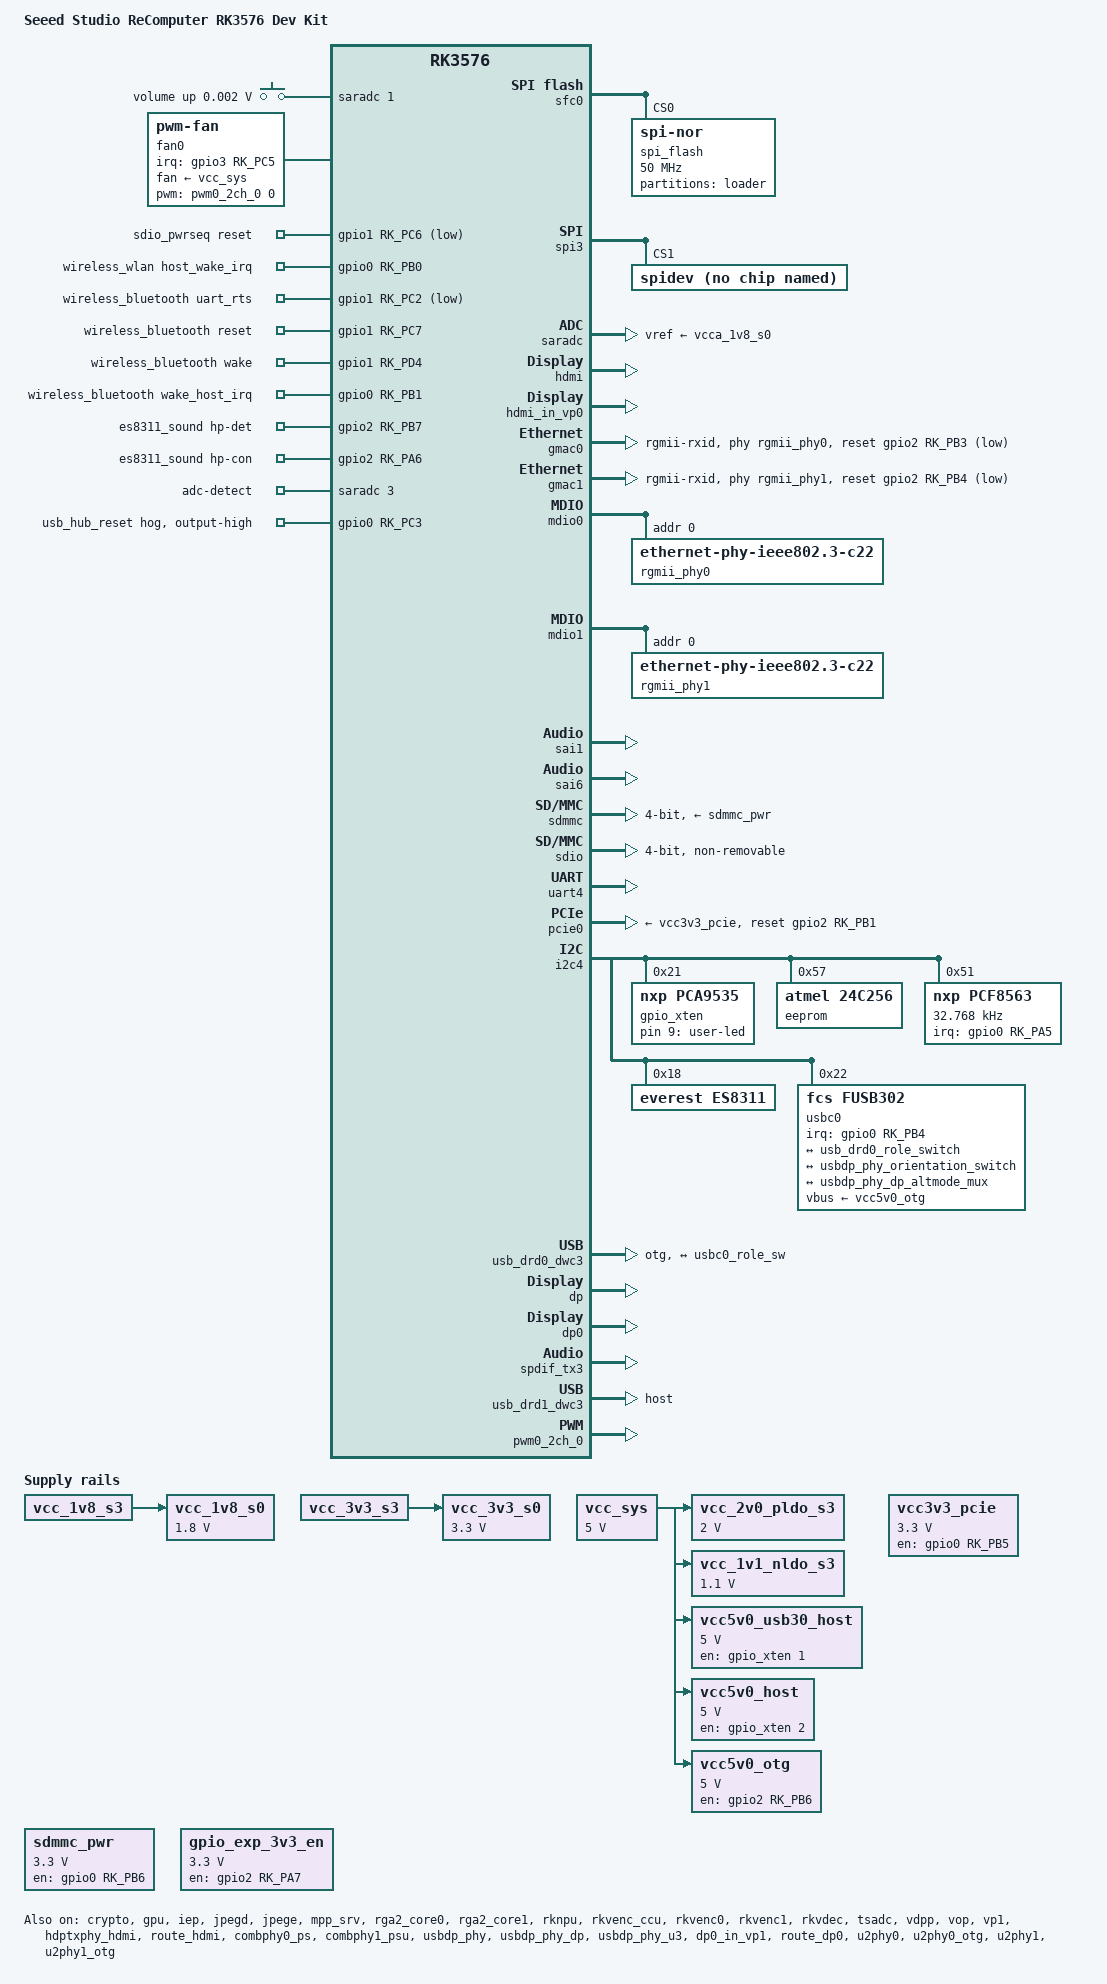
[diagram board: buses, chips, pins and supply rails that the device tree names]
// SPDX-License-Identifier: (GPL-2.0+ OR MIT)
/*
 * Copyright (c) 2024 Rockchip Electronics Co., Ltd.
 * Copyright (c) 2025 Radxa Computer (Shenzhen) Co., Ltd.
 *
 */

/dts-v1/;
#include <dt-bindings/usb/pd.h>
#include <dt-bindings/gpio/gpio.h>
#include <dt-bindings/pwm/pwm.h>
#include <dt-bindings/pinctrl/rockchip.h>
#include <dt-bindings/input/rk-input.h>
#include <dt-bindings/display/drm_mipi_dsi.h>
#include <dt-bindings/display/rockchip_vop.h>
#include <dt-bindings/sensor-dev.h>
#include "rk3576.dtsi"
#include "rk3576-linux.dtsi"
#include "rk3576-rk806.dtsi"
#include "recomputer-rk3576-devkit-cam.dtsi"
/ {
	model = "Seeed Studio ReComputer RK3576 Dev Kit";
	compatible = "seeed,recomputer rk3576 devkit", "rockchip,rk3576";

	/delete-node/ chosen;

	adc-keys {
		compatible = "adc-keys";
		io-channels = <&saradc 1>;
		io-channel-names = "buttons";
		keyup-threshold-microvolt = <1800000>;
		status = "okay";

		volumeup-key {
			linux,code = <KEY_VOLUMEUP>;
			label = "volume up";
			press-threshold-microvolt = <1750>;
		};
	};

	fan0: pwm-fan {
		status = "okay";
		compatible = "pwm-fan";
		#cooling-cells = <2>;
		cooling-levels = <0 50 100 150 200 255>;
		fan-supply = <&vcc_sys>;
		pwms = <&pwm0_2ch_0 0 60000 0>;

		interrupt-parent = <&gpio3>;
		interrupts = <RK_PC5 IRQ_TYPE_EDGE_BOTH>;
		pulses-per-revolution = <2>;
		pinctrl-names = "default";
		pinctrl-0 = <&fan_tach>;

		rockchip,temp-trips = <
            20000    1
            25000    2
            30000    3
            35000    5
        >;
	};

	vcc_sys: vcc5v0-sys {
		compatible = "regulator-fixed";
		regulator-name = "vcc_sys";
		regulator-always-on;
		regulator-boot-on;
		regulator-min-microvolt = <5000000>;
		regulator-max-microvolt = <5000000>;
	};

	vcc_2v0_pldo_s3: vcc-2v0-pldo-s3 {
		compatible = "regulator-fixed";
		regulator-name = "vcc_2v0_pldo_s3";
		regulator-boot-on;
		regulator-always-on;
		regulator-min-microvolt = <2000000>;
		regulator-max-microvolt = <2000000>;
		vin-supply = <&vcc_sys>;
	};

	vcc_1v1_nldo_s3: vcc-1v1-nldo-s3 {
		compatible = "regulator-fixed";
		regulator-name = "vcc_1v1_nldo_s3";
		regulator-boot-on;
		regulator-always-on;
		regulator-min-microvolt = <1100000>;
		regulator-max-microvolt = <1100000>;
		vin-supply = <&vcc_sys>;
	};

	vcc_1v8_s0: vcc-1v8-s0 {
		compatible = "regulator-fixed";
		regulator-name = "vcc_1v8_s0";
		regulator-boot-on;
		regulator-always-on;
		regulator-min-microvolt = <1800000>;
		regulator-max-microvolt = <1800000>;
		vin-supply = <&vcc_1v8_s3>;
	};

	vcc_3v3_s0: vcc-3v3-s0 {
		compatible = "regulator-fixed";
		regulator-name = "vcc_3v3_s0";
		regulator-boot-on;
		regulator-always-on;
		regulator-min-microvolt = <3300000>;
		regulator-max-microvolt = <3300000>;
		vin-supply = <&vcc_3v3_s3>;
	};

	vcc5v0_usb30_host: vcc5v0-usb30-host {
		compatible = "regulator-fixed";
		regulator-name = "vcc5v0_usb30_host";
		regulator-boot-on;
		regulator-always-on;
		regulator-min-microvolt = <5000000>;
		regulator-max-microvolt = <5000000>;
		enable-active-high;
		gpio = <&gpio_xten 1 GPIO_ACTIVE_HIGH>;
		vin-supply = <&vcc_sys>;
	};

	vcc5v0_host: vcc5v0-host {
		compatible = "regulator-fixed";
		regulator-name = "vcc5v0_host";
		regulator-boot-on;
		regulator-always-on;
		regulator-min-microvolt = <5000000>;
		regulator-max-microvolt = <5000000>;
		enable-active-high;
		gpio = <&gpio_xten 2 GPIO_ACTIVE_HIGH>;
		vin-supply = <&vcc_sys>;
	};

	vcc5v0_otg: vcc5v0-otg {
		compatible = "regulator-fixed";
		regulator-name = "vcc5v0_otg";
		regulator-min-microvolt = <5000000>;
		regulator-max-microvolt = <5000000>;
		enable-active-high;
		gpio = <&gpio2 RK_PB6 GPIO_ACTIVE_HIGH>;
		vin-supply = <&vcc_sys>;
		pinctrl-names = "default";
		pinctrl-0 = <&vcc5v0_otg_en>;
	};


	vcc3v3_pcie: vcc3v3-pcie {
		compatible = "regulator-fixed";
		regulator-name = "vcc3v3_pcie";
		regulator-min-microvolt = <3300000>;
		regulator-max-microvolt = <3300000>;
		enable-active-high;
		regulator-boot-on;
		regulator-always-on;
		gpios = <&gpio0 RK_PB5 GPIO_ACTIVE_HIGH>;
		startup-delay-us = <5000>;
		pinctrl-names = "default";
		pinctrl-0 = <&pcie_pwr_en>;
	};

	sdmmc_pwr: sdmmc-pwr {
		compatible = "regulator-fixed";
		regulator-name = "sdmmc_pwr";
		regulator-min-microvolt = <3300000>;
		regulator-max-microvolt = <3300000>;
		enable-active-high;
		regulator-boot-on;
		regulator-always-on;
		gpios = <&gpio0 RK_PB6 GPIO_ACTIVE_HIGH>;
		pinctrl-names = "default";
		pinctrl-0 = <&sdmmc_pwr_en>;
	};

	gpio_exp_3v3_en: gpio_exp_3v3_en{
		compatible = "regulator-fixed";
		regulator-name = "exp_3v3_en";
		regulator-min-microvolt = <3300000>;
		regulator-max-microvolt = <3300000>;
		regulator-always-on;
		regulator-boot-on;
		enable-active-high;
		gpios = <&gpio2 RK_PA7 GPIO_ACTIVE_HIGH>;
		pinctrl-names = "default";
		pinctrl-0 = <&vsys_3v3_exp_en>;
	};

	sdio_pwrseq: sdio-pwrseq {
		compatible = "mmc-pwrseq-simple";
		pinctrl-names = "default";
		pinctrl-0 = <&wifi_poweren_gpio>;

		/*
		 * On the module itself this is one of these (depending
		 * on the actual card populated):
		 * - SDIO_RESET_L_WL_REG_ON
		 * - PDN (power down when low)
		 */
		post-power-on-delay-ms = <200>;
		reset-gpios = <&gpio1 RK_PC6 GPIO_ACTIVE_LOW>;
	};

	wireless_wlan: wireless-wlan {
		compatible = "wlan-platdata";
		wifi_chip_type = "fcs960k";
		clocks = <&pcf8563>; 
		clock-names = "ext_clock";
		pinctrl-names = "default";
		pinctrl-0 = <&wifi_host_wake_irq>;
		WIFI,host_wake_irq = <&gpio0 RK_PB0 GPIO_ACTIVE_HIGH>;
	};


	wireless_bluetooth: wireless-bluetooth {
		compatible = "bluetooth-platdata";
		uart_rts_gpios = <&gpio1 RK_PC2 GPIO_ACTIVE_LOW>;
		pinctrl-names = "default", "rts_gpio";
		pinctrl-0 = <&uart4m1_rtsn>;
		pinctrl-1 = <&uart4_gpios>;
		BT,reset_gpio    = <&gpio1 RK_PC7 GPIO_ACTIVE_HIGH>;
		BT,wake_gpio     = <&gpio1 RK_PD4 GPIO_ACTIVE_HIGH>;
		BT,wake_host_irq = <&gpio0 RK_PB1 GPIO_ACTIVE_HIGH>;
		status = "okay";
	};

	hdmi_sound: hdmi-sound {
		compatible = "rockchip,hdmi";
		rockchip,mclk-fs = <128>;
		rockchip,card-name = "rockchip-hdmi0";
		rockchip,cpu = <&sai6>;
		rockchip,codec = <&hdmi>;
		rockchip,jack-det;
	};

	dp0_sound: dp0-sound {
		compatible = "rockchip,hdmi";
		rockchip,mclk-fs = <512>;
		rockchip,card-name = "rockchip-dp0";
		rockchip,cpu = <&spdif_tx3>;
		rockchip,codec = <&dp0 1>;
		rockchip,jack-det;
	};


	es8311_sound: es8311-sound {
		status = "okay";
		compatible = "rockchip,multicodecs-card";
		rockchip,card-name = "rockchip-es8311";
		io-channels = <&saradc 3>;
		io-channel-names = "adc-detect";
		keyup-threshold-microvolt = <1800000>;
		poll-interval = <100>;
		hp-det-gpio = <&gpio2 RK_PB7 GPIO_ACTIVE_HIGH>;
		hp-con-gpio = <&gpio2 RK_PA6 GPIO_ACTIVE_HIGH>;
		rockchip,pre-power-on-delay-ms = <30>;
		rockchip,post-power-down-delay-ms = <40>;
		rockchip,format = "i2s";
		rockchip,mclk-fs = <256>;
		rockchip,cpu = <&sai1>;
		rockchip,codec = <&es8311>;
        rockchip,audio-routing =
            /* Playback path - Headphone from differential output */
            "Headphone", "DIFFERENTIAL OUT",
            /* Capture path - Analog microphone */
            "AMIC", "Main Mic",
            "AMIC", "Headset Mic";
		pinctrl-names = "default";
		pinctrl-0 = <&hp_det &hp_con>;

	};

	gpio-leds {
		compatible = "gpio-leds";

		// power-led {
		// 	gpios = <&gpio0 RK_PB4 GPIO_ACTIVE_HIGH>;
		// 	linux,default-trigger = "default-on";
		// };

		user-led {
			gpios = <&gpio_xten 9 GPIO_ACTIVE_HIGH>;
			linux,default-trigger = "heartbeat";
		};
	};


};


&gpio0 {
    usb_hub_reset_hog: usb-hub-reset-hog {
        gpio-hog;
        gpios = <RK_PC3 GPIO_ACTIVE_HIGH>;
        output-high;              
        line-name = "usb_hub_reset";
    };
};



&sfc0 {
	status = "okay";
	max-freq = <50000000>;
	#address-cells = <1>;
	#size-cells = <0>;
	pinctrl-names = "default";
	pinctrl-0 = <&fspi0_pins>;
	
	spi_flash: spi-flash@0 {
		#address-cells = <1>;
		#size-cells = <0>;
		compatible = "jedec,spi-nor";
		reg = <0x0>;
		spi-max-frequency = <50000000>;
		spi-tx-bus-width = <1>;
		spi-rx-bus-width = <4>;
		status = "okay";

		partitions {
			compatible = "fixed-partitions";
			#address-cells = <1>;
			#size-cells = <1>;

			loader@0 {
				label = "loader";
				reg = <0x0 0x1000000>;
			};
		};
	};
};

&spi3 {
	status = "okay";
	pinctrl-0 = <&spi3m1_csn1 &spi3m1_pins>;

	spidev@1 {
		compatible = "spidev";
		reg = <1>;
		status = "okay";
	};

	// m6108: mm6108@1 {
	// 	compatible = "morse,mm610x-spi";
	// 	reg = <1>;
	// 	spi-max-frequency = <50000000>;
	// 	spi-irq-gpios = <&gpio0 RK_PA0 GPIO_ACTIVE_HIGH>;
	// 	// reset-gpios = <&gpio_xten 4 GPIO_ACTIVE_HIGH>;
	// 	// power-gpios = <&gpio1 RK_PB1 GPIO_ACTIVE_HIGH>, <&gpio1 RK_PB2 GPIO_ACTIVE_HIGH>;
	// 	status = "okay";
 	// };

};

&cpu_l0 {
	cpu-supply = <&vdd_cpu_lit_s0>;
};

&cpu_b0 {
	cpu-supply = <&vdd_cpu_big_s0>;
};

&crypto {
	status = "okay";
};

&gpu {
	mali-supply = <&vdd_gpu_s0>;
	status = "okay";
};

&iep {
	status = "okay";
};

&iep_mmu {
	status = "okay";
};

&jpegd {
	status = "okay";
};

&jpege {
	status = "okay";
};

&jpeg_mmu {
	status = "okay";
};

&mpp_srv {
	status = "okay";
};

&rga2_core0 {
	status = "okay";
};

&rga2_core0_mmu {
	status = "okay";
};

&rga2_core1 {
	status = "okay";
};

&rga2_core1_mmu {
	status = "okay";
};

&rknpu {
	rknpu-supply = <&vdd_npu_s0>;
	status = "okay";
};

&rknpu_mmu {
	status = "okay";
};

&rkvenc_ccu {
	status = "okay";
};

&rkvenc0 {
	status = "okay";
};

&rkvenc0_mmu {
	status = "okay";
};

&rkvenc1 {
	status = "okay";
};

&rkvenc1_mmu {
	status = "okay";
};

&rkvdec {
	status = "okay";
};

&rkvdec_mmu {
	status = "okay";
};

&rockchip_suspend {
	status = "okay";
	rockchip,sleep-debug-en = <1>;

	rockchip,sleep-io-ret-config = <
		(0
		| RKPM_VCCIO3_RET_EN
		)
	>;

	rockchip,regulator-on-before-mem = <&vdd_npu_s0>;
};

&vdd_logic_s0 {
	regulator-state-mem {
		regulator-on-in-suspend;
	};
};

&vcca_1v8_s0 {
	regulator-state-mem {
		regulator-on-in-suspend;
	};
};

&saradc {
	status = "okay";
	vref-supply = <&vcca_1v8_s0>;
};

&tsadc {
	status = "okay";
};

&threshold {
	temperature = <60000>;
};

&little_core_thermal {
	sustainable-power = <5000>; /* milliwatts */
	cooling-maps {
		map3 {
			trip = <&target>;
			cooling-device =
				<&fan0 THERMAL_NO_LIMIT THERMAL_NO_LIMIT>;
			contribution = <8192>;
		};
		map4 {
			trip = <&threshold>;
			cooling-device =
				<&fan0 THERMAL_NO_LIMIT THERMAL_NO_LIMIT>;
			contribution = <8192>;
		};
	};
};

&sdhci {
	bus-width = <8>;
	no-sdio;
	no-sd;
	non-removable;
	max-frequency = <100000000>;
	mmc-hs400-1_8v;
	mmc-hs400-enhanced-strobe;
	full-pwr-cycle-in-suspend;
	status = "disabled";
};

&vdpp {
	status = "okay";
};

&vop {
	status = "okay";
	vop-supply = <&vdd_logic_s0>;
};

&vop_mmu {
	status = "okay";
};

&vp1 {
	assigned-clocks = <&cru DCLK_VP1_SRC>;
	assigned-clock-parents = <&cru PLL_VPLL>;
};

&vp2 {
	assigned-clocks = <&cru DCLK_VP2_SRC>;
	assigned-clock-parents = <&cru PLL_VPLL>;
};

&display_subsystem {
	clocks = <&hdptxphy_hdmi>;
	clock-names = "hdmi0_phy_pll";
};

&hdmi {
	status = "okay";
	cec-enable;
	enable-gpios = <&gpio4 RK_PC6 GPIO_ACTIVE_HIGH>;
	ddc-i2c-scl-high-time-ns = <4812>;
	ddc-i2c-scl-low-time-ns = <5000>;
};


&hdmi_in_vp0 {
	status = "okay";
};

&hdmi_in_vp1 {
	status = "disabled";
};

&hdmi_in_vp2 {
	status = "disabled";
};

&hdmi_in_vopl {
	status = "disabled";
};

&hdptxphy_hdmi {
	status = "okay";
};

&route_hdmi {
	status = "okay";
	connect = <&vp0_out_hdmi>;
};

&hdmi_sound {
	status = "okay";
};

&vp0 {
	rockchip,plane-mask = <(1 << ROCKCHIP_VOP2_CLUSTER0 | 1 << ROCKCHIP_VOP2_ESMART0)>;
	rockchip,primary-plane = <ROCKCHIP_VOP2_ESMART0>;
	cursor-win-id = <ROCKCHIP_VOP2_CLUSTER0>;
};

&vp1 {
	rockchip,plane-mask = <(1 << ROCKCHIP_VOP2_CLUSTER1 | 1 << ROCKCHIP_VOP2_ESMART1)>;
	rockchip,primary-plane = <ROCKCHIP_VOP2_ESMART1>;
	cursor-win-id = <ROCKCHIP_VOP2_CLUSTER1>;
};

&vp2 {
	rockchip,plane-mask = <(1 << ROCKCHIP_VOP2_ESMART2 | 1 << ROCKCHIP_VOP2_ESMART3)>;
	rockchip,primary-plane = <ROCKCHIP_VOP2_ESMART2>;
	cursor-win-id = <ROCKCHIP_VOP2_ESMART3>;
};

&gmac0 {
	/* Use rgmii-rxid mode to disable rx delay inside Soc */
	phy-mode = "rgmii-rxid";
	clock_in_out = "output";

	snps,reset-gpio = <&gpio2 RK_PB3 GPIO_ACTIVE_LOW>;
	snps,reset-active-low;
	/* Reset time is 20ms, 100ms for rtl8211f */
	snps,reset-delays-us = <0 20000 100000>;

	pinctrl-names = "default";
	// pinctrl-0 = <&eth0m0_miim
	// 	     &eth0m0_tx_bus2
	// 	     &eth0m0_rx_bus2
	// 	     &eth0m0_rgmii_clk
	// 	     &eth0m0_rgmii_bus
	// 	     &ethm0_clk0_25m_out>;

	pinctrl-0 = <&eth0m0_miim
		     &eth0m0_tx_bus2
		     &eth0m0_rx_bus2
		     &eth0m0_rgmii_clk
		     &eth0m0_rgmii_bus>;
	tx_delay = <0x20>;
	/* rx_delay = <0x3f>; */

	phy-handle = <&rgmii_phy0>;
	status = "okay";
};

&gmac1 {
	/* Use rgmii-rxid mode to disable rx delay inside Soc */
	phy-mode = "rgmii-rxid";
	clock_in_out = "output";
	

	snps,reset-gpio = <&gpio2 RK_PB4 GPIO_ACTIVE_LOW>;
	snps,reset-active-low;
	/* Reset time is 20ms, 100ms for rtl8211f */
	snps,reset-delays-us = <0 20000 100000>;

	pinctrl-names = "default";
	pinctrl-0 = <&eth1m0_miim
		     &eth1m0_tx_bus2
		     &eth1m0_rx_bus2
		     &eth1m0_rgmii_clk
		     &eth1m0_rgmii_bus>;

	tx_delay = <0x1a>;
	/* rx_delay = <0x3f>; */

	phy-handle = <&rgmii_phy1>;
	status = "okay";
};

&mdio0 {
	rgmii_phy0: phy@1 {
		compatible = "ethernet-phy-ieee802.3-c22";
		realtek,clkout-disable;
		reg = <0x0>;
	};
};

&mdio1 {
	rgmii_phy1: phy@1 {
		compatible = "ethernet-phy-ieee802.3-c22";
		realtek,clkout-disable;
		reg = <0x0>;
	};
};

&sai1 {
	status = "okay";
	rockchip,sai-rx-route = <0 1 2 3>;
 	rockchip,sai-tx-route = <2 1 0 3>;
	pinctrl-names = "default";
	pinctrl-0 = <&sai1m0_lrck
		     &sai1m0_sclk
		     &sai1m0_sdi0
		     &sai1m0_sdo2>;
};


&sai6 {
	status = "okay";
};

&sdmmc {
        max-frequency = <100000000>;
        pinctrl-0 = <&sdmmc0_clk &sdmmc0_cmd &sdmmc0_det &sdmmc0_bus4>;
        pinctrl-names = "default";
        no-sdio;
        no-mmc;
        bus-width = <4>;
        cap-mmc-highspeed;
        cap-sd-highspeed;
        disable-wp;
        sd-uhs-sdr104;
        vqmmc-supply = <&vccio_sd_s0>;
        vmmc-supply = <&sdmmc_pwr>;
        status = "okay";
};

/* wifi */
&sdio {
	max-frequency = <100000000>;
	no-sd;
	no-mmc;
	bus-width = <4>;
	disable-wp;
	cap-sd-highspeed;
	cap-sdio-irq;
	keep-power-in-suspend;
	mmc-pwrseq = <&sdio_pwrseq>;
	non-removable;
	pinctrl-names = "default";
	pinctrl-0 = <&sdmmc1m0_bus4 &sdmmc1m0_clk &sdmmc1m0_cmd>;
	sd-uhs-sdr50;
	sd-uhs-sdr104;
	status = "okay";
};

/* ble */
&uart4 {
	status = "okay";
	pinctrl-names = "default";
	pinctrl-0 = <&uart4m1_xfer &uart4m1_ctsn>;
	// uart-has-rtscts;
};


&combphy0_ps {
	status = "okay";
};

&combphy1_psu {
	status = "okay";
};

&pcie0 {
	reset-gpios = <&gpio2 RK_PB1 GPIO_ACTIVE_HIGH>;
	rockchip,skip-scan-in-resume;
	vpcie3v3-supply = <&vcc3v3_pcie>;
	status = "okay";
};


&i2c4 {
	status = "okay";
	pinctrl-0 = <&i2c4m3_xfer>;

	gpio_xten: gpio_xten@21 {
		compatible = "nxp,pca9535";
		reg = <0x21>;
		gpio-controller;
		#gpio-cells = <2>;
		
		interrupt-controller;
		gpio-line-names =
		"MIPI_DPHY_CSI0_IO1"	,"USB_USB30_PWREN_H",
		"USB_HOST_PWREN_H"	,"PCIe_SX1261_RST_3V3",
		"LTE_RESET"	,"P05",
		"P06"	,"LoRaWan_sx1262_CS",
		"USER_LED_R"	,"USER_LED_B",
		"USER_LED_G"	,"P13",
		"P14"	,"P15",
		"P16"	,"P17";
		
		gpio-line-offsets = <0>, <1>, <2>, <3>, <4>, <5>, <6>, <7>, <8>, <9>, <10>, <11>, <12>, <13>, <14>, <15>;
	};


	eeprom:	at24c256@57 {
		status = "okay";
		compatible = "atmel,24c256";
		reg = <0x57>;
		pagesize = <16>;
	};

	pcf8563: pcf8563@51 {
		compatible = "nxp,pcf8563";
		reg = <0x51>;
		status = "okay";
		interrupt-parent = <&gpio0>;
		interrupts = <RK_PA5 IRQ_TYPE_EDGE_FALLING>;
		pinctrl-names = "default";
		pinctrl-0 = <&pcf8563_int>;
		#clock-cells = <0>;
		clock-frequency = <32768>;
		clock-output-names = "xin32k";
	};

	es8311: es8311@18 {
		status = "okay";
		compatible = "everest,es8311";
		reg = <0x18>;
		#sound-dai-cells = <0>;
		adc-pga-gain = <6>;     /* 18dB */
		adc-volume = <0xbf>;    /* 0dB */
		dac-volume = <0xbf>;    /* 0dB */
		aec-mode = "adc left, adc right";
		clocks = <&mclkout_sai1>;
		clock-names = "mclk";
		assigned-clocks = <&mclkout_sai1>;
		assigned-clock-rates = <12288000>;
		pinctrl-names = "default";
		pinctrl-0 = <&sai1m0_mclk>;
	};

	/* Typec Controller Fusb302 */
	usbc0: fusb302@22 {
		compatible = "fcs,fusb302";
		reg = <0x22>;
		interrupt-parent = <&gpio0>;
		interrupts = <RK_PB4 IRQ_TYPE_LEVEL_LOW>;
		pinctrl-names = "default";
		pinctrl-0 = <&aw35615_int>;
		vbus-supply = <&vcc5v0_otg>;
		status = "okay";

		ports {
			#address-cells = <1>;
			#size-cells = <0>;

			port@0 {
				reg = <0>;
				usbc0_role_sw: endpoint@0 {
					remote-endpoint = <&usb_drd0_role_switch>;
				};
			};
		};

		usb_con: connector {
			compatible = "usb-c-connector";
			label = "USB-C";
			data-role = "dual";
			power-role = "dual";
			try-power-role = "sink";
			op-sink-microwatt = <1000000>;
			sink-pdos =
				<PDO_FIXED(5000, 1000, PDO_FIXED_USB_COMM)>;
			source-pdos =
				<PDO_FIXED(5000, 3000, PDO_FIXED_USB_COMM)>;

			altmodes {
				#address-cells = <1>;
				#size-cells = <0>;

				altmode@0 {
					reg = <0>;
					svid = <0xff01>;
					vdo = <0xffffffff>;
				};
			};

			ports {
				#address-cells = <1>;
				#size-cells = <0>;

				port@0 {
					reg = <0>;
					usbc0_orien_sw: endpoint {
						remote-endpoint = <&usbdp_phy_orientation_switch>;
					};
				};

				port@1 {
					reg = <1>;
					dp_altmode_mux: endpoint {
						remote-endpoint = <&usbdp_phy_dp_altmode_mux>;
					};
				};
			};
		};
	};

};

// &gpio_xten {
// 	lte_reset_hog: lte-reset-hog {
// 		gpio-hog;
// 		gpios = <4 GPIO_ACTIVE_HIGH>;
// 		output-high;              
// 		line-name = "lte_reset";
// 	};
// };



// /* usb OTG 0 */
// &u2phy0 {
// 	status = "okay";
// };

// &u2phy0_otg {
// 	vbus-supply = <&vcc5v0_otg>;
// 	status = "okay";
// };

// &usb_drd0_dwc3 {
// 	extcon = <&u2phy0>;
// 	dr_mode = "host";
// 	status = "okay";
// };

// &usbdp_phy {
// 	rockchip,dp-lane-mux = <2 3>;
// 	status = "okay";
// };

// &usbdp_phy_dp {
// 	status = "disabled";
// };

// &usbdp_phy_u3 {
// 	status = "okay";
// };


/* USB3 OTG0/DP1.4 Alt */
&usbdp_phy {
	orientation-switch;
	svid = <0xff01>;
	sbu1-dc-gpios = <&gpio4 RK_PC4 GPIO_ACTIVE_HIGH>;
	sbu2-dc-gpios = <&gpio4 RK_PC5 GPIO_ACTIVE_HIGH>;
	status = "okay";

	port {
		#address-cells = <1>;
		#size-cells = <0>;

		usbdp_phy_orientation_switch: endpoint@0 {
			reg = <0>;
			remote-endpoint = <&usbc0_orien_sw>;
		};

		usbdp_phy_dp_altmode_mux: endpoint@1 {
			reg = <1>;
			remote-endpoint = <&dp_altmode_mux>;
		};
	};
};

&usbdp_phy_dp {
	status = "okay";
};

&usbdp_phy_u3 {
	status = "okay";
};

&usb_drd0_dwc3 {
	dr_mode = "otg";
	usb-role-switch;
	status = "okay";
	snps,parkmode-disable-hs-quirk;
	snps,parkmode-disable-ss-quirk;
	snps,dis_u3_susphy_quirk;
	snps,dis_u2_susphy_quirk;
	port {
		usb_drd0_role_switch: endpoint {
			remote-endpoint = <&usbc0_role_sw>;
		};
	};
};

/* DP */
&dp {
	status = "okay";
};

&dp0 {
	status = "okay";
};

&dp0_in_vp0 {
	status = "disabled";
};

&dp0_in_vp1 {
	status = "okay";
};

&dp0_in_vp2 {
	status = "disabled";
};

&vp1 {
	status = "okay";
};

&route_dp0 {
	status = "okay";
	connect = <&vp1_out_dp0>;
};

&dp0_sound {
	status = "okay";
};

&spdif_tx3 {
	status = "okay";
};

/* USB2 OTG0 */
&u2phy0 {
	status = "okay";
};

&u2phy0_otg {
	rockchip,typec-vbus-det;
	status = "okay";
};


/* usb OTG 1 */
&u2phy1 {
	status = "okay";
};

&u2phy1_otg {
	phy-supply = <&vcc5v0_usb30_host>;
	status = "okay";
};

&usb_drd1_dwc3 {
	dr_mode = "host";
	status = "okay";
};

&pwm0_2ch_0 {
	pinctrl-0 = <&pwm0m3_ch0>;
	status = "okay";
};

&pinctrl {
	headphone {
		hp_det: hp-det {
			rockchip,pins = <2 RK_PB7 RK_FUNC_GPIO &pcfg_pull_up>;
		};
		hp_con: hp-con {
			rockchip,pins = <2 RK_PA6 RK_FUNC_GPIO &pcfg_pull_up>;
		};
	};

	sdmmc{
		sdmmc_pwr_en: sdmmc-pwr-en {
			rockchip,pins = <0 RK_PB6 RK_FUNC_GPIO &pcfg_pull_none>;
		};
	};

	gpio_exp_en{
		vsys_3v3_exp_en: vsys-3v3-exp-en {
			rockchip,pins = <2 RK_PA7 RK_FUNC_GPIO &pcfg_pull_none>;
		};
	};

	usb {
		// TYPE-C 
		aw35615_int: aw35615-int {
			rockchip,pins = <0 RK_PB4 RK_FUNC_GPIO &pcfg_pull_up>;
		};
		vcc5v0_otg_en: vcc5v0-otg-en{
			rockchip,pins = <2 RK_PB6 RK_FUNC_GPIO &pcfg_pull_up>;
		};
	};

	pcf8563 {
		pcf8563_int: pcf8563-int {
			rockchip,pins = <0 RK_PA5 RK_FUNC_GPIO &pcfg_pull_up>;
		};
	};

	pcie {
		pcie_pwr_en: pcie-pwr-en {
			rockchip,pins = <0 RK_PB5 RK_FUNC_GPIO &pcfg_pull_none>;
		};
	};

	wifi {
		wifi_host_wake_irq: wifi-host-wake-irq {
			rockchip,pins = <0 RK_PB0 RK_FUNC_GPIO &pcfg_pull_down>;
		};

		wifi_poweren_gpio: wifi-poweren-gpio {
			rockchip,pins = <1 RK_PC6 RK_FUNC_GPIO &pcfg_pull_none>;
		};
	};

	wireless-bluetooth {
		uart4_gpios: uart4-gpios {
			rockchip,pins = <1 RK_PC2 RK_FUNC_GPIO &pcfg_pull_none>;
		};
	};

	fan {
		fan_tach: fan-tach {
			rockchip,pins = <3 RK_PC5 RK_FUNC_GPIO &pcfg_pull_up>;
		};
	};

};

&gpio0 {
	gpio-line-names =
		/* GPIO0_A0-A3 */
		"", "", "", "",
		/* GPIO0_A4-A7 */
		"", "", "", "",

		/* GPIO0_B0-B3 */
		"", "", "", "",
		/* GPIO0_B4-B7 */
		"", "", "", "",

		/* GPIO0_C0-C3 */
		"", "", "", "",
		/* GPIO0_C4-C7 */
		"", "", "", "",

		/* GPIO0_D0-D3 */
		"", "", "", "",
		/* GPIO0_D4-D7 */
		"PIN_8", "PIN_10", "", "";
};

&gpio1 {
	gpio-line-names =
		/* GPIO1_A0-A3 */
		"", "", "", "",
		/* GPIO1_A4-A7 */
		"", "", "", "",

		/* GPIO1_B0-B3 */
		"", "", "", "",
		/* GPIO1_B4-B7 */
		"PIN_23", "PIN_19", "PIN_21", "PIN_24",

		/* GPIO1_C0-C3 */
		"PIN_26", "PIN_31", "PIN_33", "PIN_7",
		/* GPIO1_C4-C7 */
		"PIN_11", "PIN_15", "PIN_5", "PIN_3",

		/* GPIO1_D0-D3 */
		"PIN_40", "PIN_12", "PIN_35", "PIN_38",
		/* GPIO1_D4-D7 */
		"PIN_36", "PIN_32", "", "";
};

&gpio2 {
	gpio-line-names =
		/* GPIO2_A0-A3 */
		"", "", "", "",
		/* GPIO2_A4-A7 */
		"", "", "", "",

		/* GPIO2_B0-B3 */
		"", "", "", "",
		/* GPIO2_B4-B7 */
		"", "", "PIN_16", "PIN_18",

		/* GPIO2_C0-C3 */
		"PIN_13", "", "", "",
		/* GPIO2_C4-C7 */
		"", "", "", "",

		/* GPIO2_D0-D3 */
		"", "", "", "",
		/* GPIO2_D4-D7 */
		"", "", "", "PIN_22";
};

&gpio3 {
	gpio-line-names =
		/* GPIO3_A0-A3 */
		"", "", "PIN_29", "PIN_37",
		/* GPIO3_A4-A7 */
		"", "", "", "",

		/* GPIO3_B0-B3 */
		"", "", "", "",
		/* GPIO3_B4-B7 */
		"", "", "", "",

		/* GPIO3_C0-C3 */
		"", "", "", "",
		/* GPIO3_C4-C7 */
		"", "", "", "",

		/* GPIO3_D0-D3 */
		"", "", "", "",
		/* GPIO3_D4-D7 */
		"", "", "", "";
};

&gpio4 {
	gpio-line-names =
		/* GPIO4_A0-A3 */
		"", "", "", "",
		/* GPIO4_A4-A7 */
		"", "", "", "",

		/* GPIO4_B0-B3 */
		"", "", "", "",
		/* GPIO4_B4-B7 */
		"", "", "", "",

		/* GPIO4_C0-C3 */
		"", "", "", "",
		/* GPIO4_C4-C7 */
		"", "", "PIN_28", "PIN_27",

		/* GPIO4_D0-D3 */
		"", "", "", "",
		/* GPIO4_D4-D7 */
		"", "", "", "";
};

